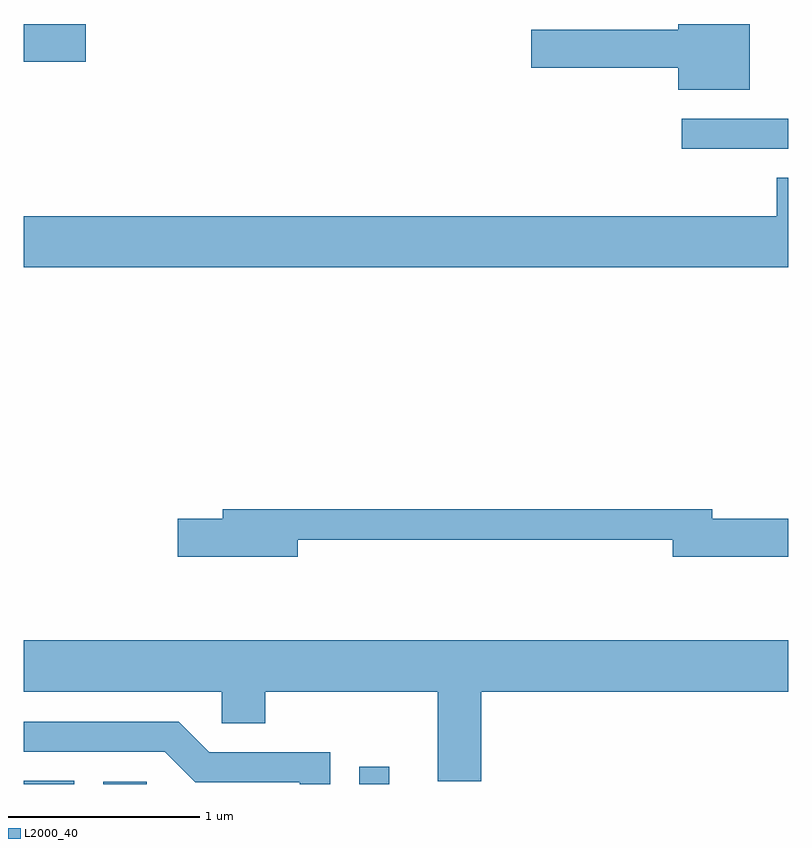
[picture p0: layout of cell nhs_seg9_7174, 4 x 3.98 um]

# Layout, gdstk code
import gdstk
lib = gdstk.Library(unit=1e-6, precision=1e-09)
def R(c, l, rs):  # rectangles x0, y0, x1, y1
    for r in rs: c.add(gdstk.rectangle(r[:2], r[2:], *l))
def P(c, l, *ps):  # polygons
    for p in ps: c.add(gdstk.Polygon(p, *l))
L2000_40 = (2000, 40)

nhs_seg9_7174 = lib.new_cell('nhs_seg9_7174')
R(nhs_seg9_7174, L2000_40, [(397.611,2002.432,397.874,2002.449), (398.026,2002.432,398.254,2002.444), (399.366,2002.432,399.524,2002.523), (401.053,2005.756,401.611,2005.914), (397.611,2006.211,397.934,2006.409)])
P(nhs_seg9_7174, L2000_40, [(401.409,2006.409),(401.036,2006.409),(401.036,2006.379),(400.266,2006.379),(400.266,2006.181),(401.036,2006.181),(401.036,2006.066),(401.409,2006.066)],
  [(401.611,2005.604),(401.551,2005.604),(401.551,2005.404),(397.611,2005.404),(397.611,2005.136),(401.611,2005.136)],
  [(399.044,2003.711),(401.006,2003.711),(401.006,2003.621),(401.611,2003.621),(401.611,2003.819),(401.214,2003.819),(401.214,2003.869),(398.651,2003.869),(398.651,2003.819),(398.416,2003.819),(398.416,2003.621),(399.044,2003.621)],
  [(400.004,2002.916),(401.611,2002.916),(401.611,2003.184),(397.611,2003.184),(397.611,2002.916),(398.646,2002.916),(398.646,2002.751),(398.874,2002.751),(398.874,2002.916),(399.776,2002.916),(399.776,2002.446),(400.004,2002.446)],
  [(399.214,2002.599),(398.582,2002.599),(398.422,2002.759),(397.611,2002.759),(397.611,2002.601),(398.349,2002.601),(398.509,2002.441),(399.056,2002.441),(399.056,2002.432),(399.214,2002.432)])

lib.write_gds('nhs_seg9_7174.gds')
